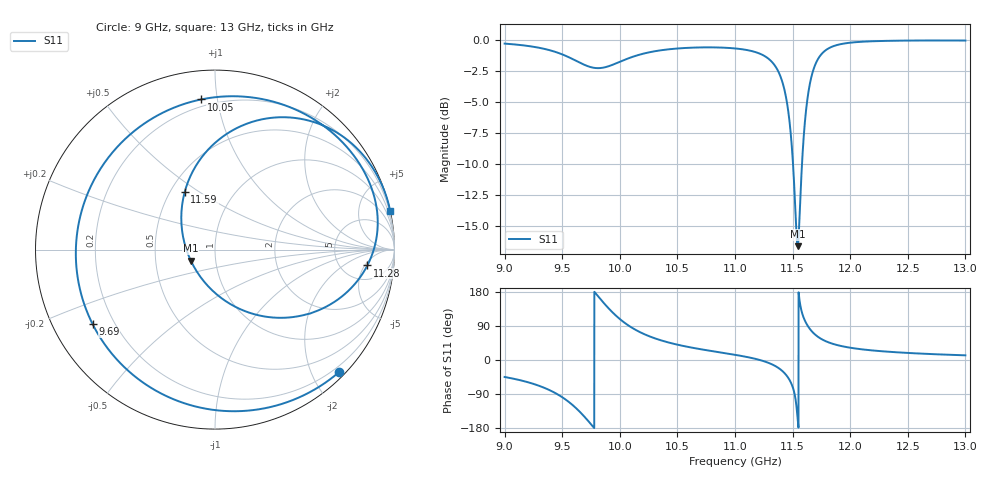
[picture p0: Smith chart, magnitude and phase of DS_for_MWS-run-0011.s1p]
! TOUCHSTONE file generated by CST DESIGN STUDIO
! Date and time: Tue Feb  4 18:21:21 2025
! Project name: C:\Work\MatlabApps\UnitCellOptimizationMatlab\CST\unitcell.cst
! Tree item: Tasks\Sweep1\SPara1\S-Parameters
! Header version: 2024
! Port assignment regex: !\s*Touchstone port\s*([0-9]+)\s*=\s*(CST MWS port|CST DES external port|CST DES block port)\s*(.+)\s* \(\"(.*)\"\)(\s*mode\s*([0-9]+))?.*
! Touchstone port assignment:
! Touchstone port 1 = CST DES external port 1 ("")
# GHz S MA R 50
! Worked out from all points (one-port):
!   4001 points, 9 GHz to 13 GHz, reference 50 ohm
!   lowest |S11| = -16.6 dB at 11.54 GHz (marker M1), VSWR 1.35, Z = 37.9 - j4.79 ohm
!   |S11| at or under -10 dB: 11.5 GHz to 11.58 GHz (77.45 MHz wide, 0.671 % of centre)
!   S11 on the Smith chart (normalised r, x): 9 GHz: 0.10, -2.42; 9.69 GHz: 0.12, -0.28; 10.05 GHz: 0.16, +0.90; 11.28 GHz: 9, -6; 11.59 GHz: 0.59, +0.44; 13 GHz: 0.04, +9.27
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9  0.9711 -44.8
9.276  0.9387 -65.6
9.389  0.9141 -79.4
9.5  0.8788 -98.2
9.598  0.838 -120.9
9.69  0.7986 -148.6
9.759  0.7783 -172.7
9.826  0.7737 162.8
9.915  0.7907 132.4
10  0.8202 108.1
10.055  0.8402 95.3
10.256  0.8959 62.6
10.5  0.928 40.5
11  0.9287 13.7
11.277  0.8534 -5.9
11.401  0.7029 -26.4
11.459  0.5316 -45.6
11.5  0.3373 -70.6
11.53  0.1799 -113.4
11.544  0.1481 -155.3
11.558  0.1832 162.4
11.589  0.3639 117.5
11.64  0.6302 86.1
11.697  0.7997 66.7
11.817  0.9318 46.0
12  0.9795 32.4
12.5  0.9989 18.6
13  0.9991 12.3
